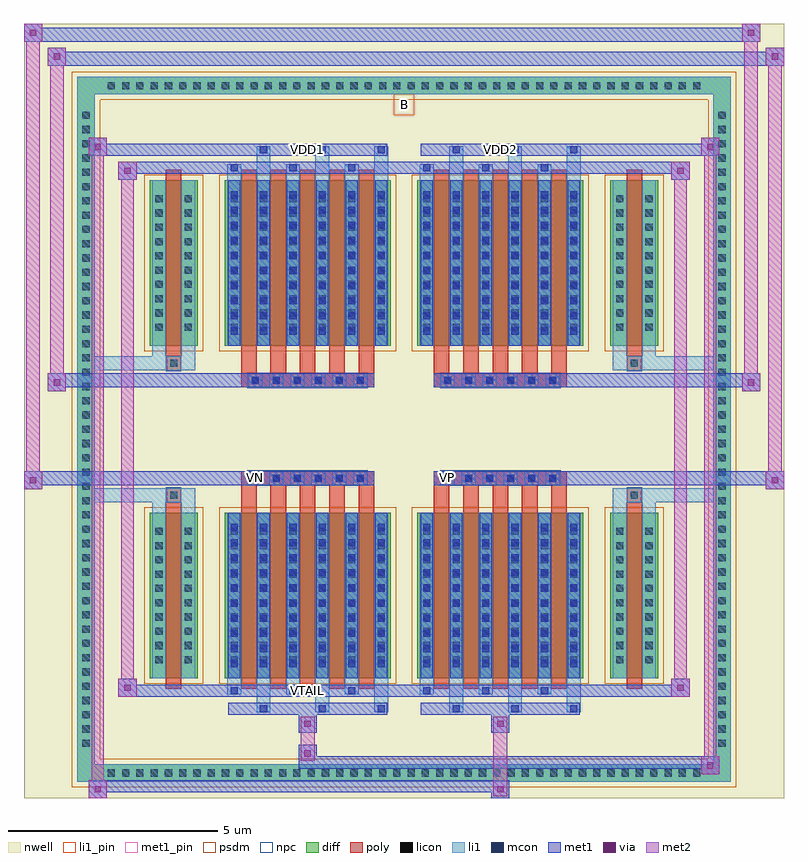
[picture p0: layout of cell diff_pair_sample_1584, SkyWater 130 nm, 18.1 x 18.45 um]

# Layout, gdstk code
import gdstk
lib = gdstk.Library(unit=1e-6, precision=5e-09)
def R(c, l, rs):  # rectangles x0, y0, x1, y1
    for r in rs: c.add(gdstk.rectangle(r[:2], r[2:], *l))
def A(c, l, x, y, w, h, nx, ny, dx, dy):  # array of equal rectangles
    R(c, l, [(x+i*dx, y+j*dy, x+i*dx+w, y+j*dy+h) for i in range(nx) for j in range(ny)])
def P(c, l, *ps):  # polygons
    for p in ps: c.add(gdstk.Polygon(p, *l))
nwell = (64, 20)
diff = (65, 20)
poly = (66, 20)
licon = (66, 44)
li1_pin = (67, 16)
li1 = (67, 20)
mcon = (67, 44)
met1_pin = (68, 16)
met1 = (68, 20)
via = (68, 44)
met2 = (69, 20)
psdm = (94, 20)
npc = (95, 20)

diff_pair_sample_1584 = lib.new_cell('diff_pair_sample_1584')
R(diff_pair_sample_1584, nwell, [(-9.05,-8.79,9.05,9.66), (-6.37,-6.98,-0.01,-0.8), (0.01,-6.98,6.37,-0.8), (-6.37,0.8,-0.01,6.98), (0.01,0.8,6.37,6.98)])
A(diff_pair_sample_1584, diff, -7.175, -8.39, 0.41, 0.41, 42, 2, 0.34, 16.37)
A(diff_pair_sample_1584, diff, -7.78, -7.685, 0.41, 0.41, 1, 45, 0, 0.34)
A(diff_pair_sample_1584, diff, 7.37, -7.685, 0.41, 0.41, 1, 45, 0, 0.34)
R(diff_pair_sample_1584, diff, [(-7.175,-8.39,7.175,-7.98), (-7.78,-7.685,-7.37,7.685), (7.37,-7.685,7.78,7.685), (-6.06,-5.935,-4.91,-1.985), (-4.27,-5.935,-0.32,-1.985), (0.32,-5.935,4.27,-1.985), (4.91,-5.935,6.06,-1.985), (-6.06,1.985,-4.91,5.935), (-4.27,1.985,-0.32,5.935), (0.32,1.985,4.27,5.935), (4.91,1.985,6.06,5.935), (-7.175,7.98,7.175,8.39)])
P(diff_pair_sample_1584, diff, [(7.78,8.39),(-7.78,8.39),(-7.78,-7.98),(-7.37,-7.98),(-7.37,7.98),(7.37,7.98),(7.37,-7.98),(-7.37,-7.98),(-7.78,-7.98),(-7.78,-8.39),(7.78,-8.39)])
A(diff_pair_sample_1584, poly, -3.88, -6.185, 0.37, 4.45, 5, 2, 0.7, 7.92)
A(diff_pair_sample_1584, poly, 0.71, -6.185, 0.37, 4.45, 5, 2, 0.7, 7.92)
A(diff_pair_sample_1584, poly, -3.88, -1.735, 0.37, 0.405, 5, 2, 0.7, 3.065)
A(diff_pair_sample_1584, poly, 0.71, -1.735, 0.37, 0.405, 5, 2, 0.7, 3.065)
A(diff_pair_sample_1584, poly, -3.71, -1.33, 0.33, 0.33, 6, 2, 0.5, 2.33)
A(diff_pair_sample_1584, poly, 0.88, -1.33, 0.33, 0.33, 6, 2, 0.5, 2.33)
R(diff_pair_sample_1584, poly, [(-5.67,-6.185,-5.3,-1.735), (5.3,-6.185,5.67,-1.735), (-5.65,-1.735,-5.32,-1.405), (-5.65,-1.735,-5.32,-1.405), (5.32,-1.735,5.65,-1.405), (5.32,-1.735,5.65,-1.405), (-3.88,-1.33,-0.71,-1), (0.71,-1.33,3.88,-1), (-3.88,1,-0.71,1.33), (0.71,1,3.88,1.33), (-5.65,1.405,-5.32,1.735), (-5.65,1.405,-5.32,1.735), (5.32,1.405,5.65,1.735), (5.32,1.405,5.65,1.735), (-5.67,1.735,-5.3,6.185), (5.3,1.735,5.67,6.185)])
A(diff_pair_sample_1584, licon, -7.055, -8.27, 0.17, 0.17, 42, 2, 0.34, 16.37)
A(diff_pair_sample_1584, licon, -7.66, -7.565, 0.17, 0.17, 1, 45, 0, 0.34)
A(diff_pair_sample_1584, licon, 7.49, -7.565, 0.17, 0.17, 1, 45, 0, 0.34)
A(diff_pair_sample_1584, licon, -5.92, -5.575, 0.17, 0.17, 1, 10, 0, 0.34)
A(diff_pair_sample_1584, licon, -5.22, -5.575, 0.17, 0.17, 1, 10, 0, 0.34)
A(diff_pair_sample_1584, licon, -4.13, -5.575, 0.17, 0.17, 6, 10, 0.7, 0.34)
A(diff_pair_sample_1584, licon, 0.46, -5.575, 0.17, 0.17, 6, 10, 0.7, 0.34)
A(diff_pair_sample_1584, licon, 5.05, -5.575, 0.17, 0.17, 1, 10, 0, 0.34)
A(diff_pair_sample_1584, licon, 5.75, -5.575, 0.17, 0.17, 1, 10, 0, 0.34)
A(diff_pair_sample_1584, licon, -3.63, -1.25, 0.17, 0.17, 6, 2, 0.5, 2.33)
A(diff_pair_sample_1584, licon, 0.96, -1.25, 0.17, 0.17, 6, 2, 0.5, 2.33)
A(diff_pair_sample_1584, licon, -5.92, 2.345, 0.17, 0.17, 1, 10, 0, 0.34)
A(diff_pair_sample_1584, licon, -5.22, 2.345, 0.17, 0.17, 1, 10, 0, 0.34)
A(diff_pair_sample_1584, licon, -4.13, 2.345, 0.17, 0.17, 6, 10, 0.7, 0.34)
A(diff_pair_sample_1584, licon, 0.46, 2.345, 0.17, 0.17, 6, 10, 0.7, 0.34)
A(diff_pair_sample_1584, licon, 5.05, 2.345, 0.17, 0.17, 1, 10, 0, 0.34)
A(diff_pair_sample_1584, licon, 5.75, 2.345, 0.17, 0.17, 1, 10, 0, 0.34)
R(diff_pair_sample_1584, licon, [(-5.57,-1.655,-5.4,-1.485), (5.4,-1.655,5.57,-1.485), (-5.57,1.485,-5.4,1.655), (5.4,1.485,5.57,1.655)])
R(diff_pair_sample_1584, li1_pin, [(-0.25,7.48,0.25,7.98)])
A(diff_pair_sample_1584, li1, -7.135, -8.35, 0.33, 0.33, 42, 2, 0.34, 16.37)
A(diff_pair_sample_1584, li1, -7.74, -7.645, 0.33, 0.33, 1, 45, 0, 0.34)
A(diff_pair_sample_1584, li1, 7.41, -7.645, 0.33, 0.33, 1, 45, 0, 0.34)
A(diff_pair_sample_1584, li1, -3.51, -6.74, 0.33, 0.805, 3, 2, 1.4, 12.675)
A(diff_pair_sample_1584, li1, -3.43, -6.74, 0.17, 0.17, 3, 2, 1.4, 13.31)
A(diff_pair_sample_1584, li1, 1.08, -6.74, 0.33, 0.805, 3, 2, 1.4, 12.675)
A(diff_pair_sample_1584, li1, 1.16, -6.74, 0.17, 0.17, 3, 2, 1.4, 13.31)
A(diff_pair_sample_1584, li1, -4.21, -6.31, 0.33, 0.375, 3, 2, 1.4, 12.245)
A(diff_pair_sample_1584, li1, -4.13, -6.31, 0.17, 0.17, 3, 2, 1.4, 12.45)
A(diff_pair_sample_1584, li1, 0.38, -6.31, 0.33, 0.375, 3, 2, 1.4, 12.245)
A(diff_pair_sample_1584, li1, 0.46, -6.31, 0.17, 0.17, 3, 2, 1.4, 12.45)
A(diff_pair_sample_1584, li1, -4.21, -5.935, 0.33, 3.95, 6, 2, 0.7, 7.92)
A(diff_pair_sample_1584, li1, 0.38, -5.935, 0.33, 3.95, 6, 2, 0.7, 7.92)
A(diff_pair_sample_1584, li1, -4.13, -5.665, 0.17, 0.17, 6, 10, 0.7, 0.36)
A(diff_pair_sample_1584, li1, -4.13, -5.665, 0.17, 3.41, 6, 2, 0.7, 7.92)
A(diff_pair_sample_1584, li1, 0.46, -5.665, 0.17, 0.17, 6, 10, 0.7, 0.36)
A(diff_pair_sample_1584, li1, 0.46, -5.665, 0.17, 3.41, 6, 2, 0.7, 7.92)
A(diff_pair_sample_1584, li1, -6, -5.655, 0.33, 0.33, 1, 10, 0, 0.34)
A(diff_pair_sample_1584, li1, -5.3, -5.655, 0.33, 0.33, 1, 10, 0, 0.34)
A(diff_pair_sample_1584, li1, -4.21, -5.655, 0.33, 0.33, 6, 10, 0.7, 0.34)
A(diff_pair_sample_1584, li1, 0.38, -5.655, 0.33, 0.33, 6, 10, 0.7, 0.34)
A(diff_pair_sample_1584, li1, 4.97, -5.655, 0.33, 0.33, 1, 10, 0, 0.34)
A(diff_pair_sample_1584, li1, 5.67, -5.655, 0.33, 0.33, 1, 10, 0, 0.34)
A(diff_pair_sample_1584, li1, -3.71, -1.33, 0.33, 0.33, 6, 2, 0.5, 2.33)
A(diff_pair_sample_1584, li1, 0.88, -1.33, 0.33, 0.33, 6, 2, 0.5, 2.33)
A(diff_pair_sample_1584, li1, -4.13, 2.255, 0.17, 0.17, 6, 10, 0.7, 0.36)
A(diff_pair_sample_1584, li1, 0.46, 2.255, 0.17, 0.17, 6, 10, 0.7, 0.36)
A(diff_pair_sample_1584, li1, -6, 2.265, 0.33, 0.33, 1, 10, 0, 0.34)
A(diff_pair_sample_1584, li1, -5.3, 2.265, 0.33, 0.33, 1, 10, 0, 0.34)
A(diff_pair_sample_1584, li1, -4.21, 2.265, 0.33, 0.33, 6, 10, 0.7, 0.34)
A(diff_pair_sample_1584, li1, 0.38, 2.265, 0.33, 0.33, 6, 10, 0.7, 0.34)
A(diff_pair_sample_1584, li1, 4.97, 2.265, 0.33, 0.33, 1, 10, 0, 0.34)
A(diff_pair_sample_1584, li1, 5.67, 2.265, 0.33, 0.33, 1, 10, 0, 0.34)
R(diff_pair_sample_1584, li1, [(-7.78,-8.39,-7.37,-7.98), (-7.78,-8.39,-7.37,-7.98), (-7.37,-8.39,7.37,-7.98), (7.37,-8.39,7.78,-7.98), (7.37,-8.39,7.78,-7.98), (-7.78,-7.98,-7.37,7.98), (7.37,-7.98,7.78,7.98), (-6,-5.935,-5.67,-1.985), (-5.3,-5.935,-4.97,-1.985), (4.97,-5.935,5.3,-1.985), (5.67,-5.935,6,-1.985), (-6,-1.985,-5.67,-1.405), (-5.3,-1.985,-4.97,-1.405), (4.97,-1.985,5.3,-1.405), (5.67,-1.985,6,-1.405), (-7.78,-1.735,-5.65,-1.405), (-6,-1.735,-5.65,-1.405), (-5.65,-1.735,-5.32,-1.405), (-5.32,-1.735,-4.97,-1.405), (4.97,-1.735,5.32,-1.405), (5.32,-1.735,5.65,-1.405), (5.32,-1.735,7.78,-1.405), (5.65,-1.735,6,-1.405), (-7.78,1.405,-5.65,1.735), (-6,1.405,-5.65,1.735), (-6,1.405,-5.67,1.985), (-5.65,1.405,-5.32,1.735), (-5.32,1.405,-4.97,1.735), (-5.3,1.405,-4.97,1.985), (4.97,1.405,5.32,1.735), (4.97,1.405,5.3,1.985), (5.32,1.405,5.65,1.735), (5.32,1.405,7.78,1.735), (5.65,1.405,6,1.735), (5.67,1.405,6,1.985), (-6,1.985,-5.67,5.935), (-5.3,1.985,-4.97,5.935), (4.97,1.985,5.3,5.935), (5.67,1.985,6,5.935), (-7.78,7.98,-7.37,8.39), (-7.78,7.98,-7.37,8.39), (-7.37,7.98,7.37,8.39), (7.37,7.98,7.78,8.39), (7.37,7.98,7.78,8.39)])
A(diff_pair_sample_1584, mcon, -3.43, -6.74, 0.17, 0.17, 3, 2, 1.4, 13.31)
A(diff_pair_sample_1584, mcon, 1.16, -6.74, 0.17, 0.17, 3, 2, 1.4, 13.31)
A(diff_pair_sample_1584, mcon, -4.13, -6.31, 0.17, 0.17, 3, 2, 1.4, 12.45)
A(diff_pair_sample_1584, mcon, 0.46, -6.31, 0.17, 0.17, 3, 2, 1.4, 12.45)
A(diff_pair_sample_1584, mcon, -4.13, -5.665, 0.17, 0.17, 6, 10, 0.7, 0.36)
A(diff_pair_sample_1584, mcon, 0.46, -5.665, 0.17, 0.17, 6, 10, 0.7, 0.36)
A(diff_pair_sample_1584, mcon, -3.63, -1.25, 0.17, 0.17, 6, 2, 0.5, 2.33)
A(diff_pair_sample_1584, mcon, 0.96, -1.25, 0.17, 0.17, 6, 2, 0.5, 2.33)
A(diff_pair_sample_1584, mcon, -4.13, 2.255, 0.17, 0.17, 6, 10, 0.7, 0.36)
A(diff_pair_sample_1584, mcon, 0.46, 2.255, 0.17, 0.17, 6, 10, 0.7, 0.36)
R(diff_pair_sample_1584, met1_pin, [(-2.43,-6.35,-2.16,-6.08), (-3.68,-1.29,-3.41,-1.02), (0.91,-1.29,1.18,-1.02), (-2.43,6.53,-2.16,6.8), (2.16,6.53,2.43,6.8)])
A(diff_pair_sample_1584, met1, -3.49, -6.8, 0.29, 0.29, 3, 2, 1.4, 13.31)
A(diff_pair_sample_1584, met1, 1.1, -6.8, 0.29, 0.29, 3, 2, 1.4, 13.31)
A(diff_pair_sample_1584, met1, -4.19, -6.37, 0.29, 0.29, 3, 2, 1.4, 12.45)
A(diff_pair_sample_1584, met1, 0.4, -6.37, 0.29, 0.29, 3, 2, 1.4, 12.45)
A(diff_pair_sample_1584, met1, -4.19, -5.935, 0.29, 3.95, 6, 2, 0.7, 7.92)
A(diff_pair_sample_1584, met1, 0.4, -5.935, 0.29, 3.95, 6, 2, 0.7, 7.92)
A(diff_pair_sample_1584, met1, -4.19, -5.725, 0.29, 0.29, 6, 10, 0.7, 0.36)
A(diff_pair_sample_1584, met1, 0.4, -5.725, 0.29, 0.29, 6, 10, 0.7, 0.36)
A(diff_pair_sample_1584, met1, -3.69, -1.31, 0.29, 0.29, 6, 2, 0.5, 2.33)
A(diff_pair_sample_1584, met1, 0.9, -1.31, 0.29, 0.29, 6, 2, 0.5, 2.33)
A(diff_pair_sample_1584, met1, -4.19, 2.195, 0.29, 0.29, 6, 10, 0.7, 0.36)
A(diff_pair_sample_1584, met1, 0.4, 2.195, 0.29, 0.29, 6, 10, 0.7, 0.36)
R(diff_pair_sample_1584, met1, [(-7.51,-8.79,-7.08,-8.36), (2.08,-8.79,2.51,-8.36), (-7.51,-8.65,2.51,-8.36), (7.08,-8.22,7.51,-7.79), (-2.51,-8.08,7.51,-7.79), (-2.51,-7.94,-2.08,-7.51), (-2.51,-7.23,-2.08,-6.8), (2.08,-7.23,2.51,-6.8), (-4.19,-6.8,-0.4,-6.51), (0.4,-6.8,4.19,-6.51), (-6.8,-6.37,-6.37,-5.94), (-6.8,-6.37,-4.19,-6.08), (-4.19,-6.37,-0.4,-6.08), (-0.4,-6.37,0.4,-6.08), (0.4,-6.37,4.19,-6.08), (4.19,-6.37,6.8,-6.08), (6.37,-6.37,6.8,-5.94), (-9.05,-1.43,-8.62,-1), (8.62,-1.43,9.05,-1), (-9.05,-1.33,-0.71,-1), (-3.88,-1.33,-0.71,-1), (0.71,-1.33,3.88,-1), (0.71,-1.33,9.05,-1), (-8.48,0.9,-8.05,1.33), (8.05,0.9,8.48,1.33), (-8.48,1,-3.88,1.33), (-3.88,1,-0.71,1.33), (0.71,1,3.88,1.33), (3.88,1,8.48,1.33), (-6.8,5.94,-6.37,6.37), (6.37,5.94,6.8,6.37), (-6.8,6.08,-4.19,6.37), (-4.19,6.08,-0.4,6.37), (-0.4,6.08,0.4,6.37), (0.4,6.08,4.19,6.37), (4.19,6.08,6.8,6.37), (-7.51,6.51,-7.08,6.94), (-7.51,6.51,-4.19,6.8), (-4.19,6.51,-0.4,6.8), (0.4,6.51,4.19,6.8), (4.19,6.51,7.51,6.8), (7.08,6.51,7.51,6.94), (-8.48,8.66,-8.05,9.09), (-8.48,8.66,-6.37,8.99), (-6.37,8.66,6.37,8.99), (6.37,8.66,9.05,8.99), (8.62,8.66,9.05,9.09), (-9.05,9.23,-8.62,9.66), (-9.05,9.23,-6.37,9.56), (-6.37,9.23,6.37,9.56), (6.37,9.23,8.48,9.56), (8.05,9.23,8.48,9.66)])
R(diff_pair_sample_1584, via, [(-7.37,-8.65,-7.22,-8.5), (2.22,-8.65,2.37,-8.5), (7.22,-8.08,7.37,-7.93), (-2.37,-7.8,-2.22,-7.65), (-2.37,-7.09,-2.22,-6.94), (2.22,-7.09,2.37,-6.94), (-6.66,-6.23,-6.51,-6.08), (6.51,-6.23,6.66,-6.08), (-8.91,-1.29,-8.76,-1.14), (8.76,-1.29,8.91,-1.14), (-8.34,1.04,-8.19,1.19), (8.19,1.04,8.34,1.19), (-6.66,6.08,-6.51,6.23), (6.51,6.08,6.66,6.23), (-7.37,6.65,-7.22,6.8), (7.22,6.65,7.37,6.8), (-8.34,8.8,-8.19,8.95), (8.76,8.8,8.91,8.95), (-8.91,9.37,-8.76,9.52), (8.19,9.37,8.34,9.52)])
R(diff_pair_sample_1584, met2, [(-7.51,-8.79,-7.08,-8.36), (-7.44,-8.79,-7.15,6.94), (-7.15,-8.79,-7.08,-8.36), (-7.46,-8.74,-7.13,-8.41), (2.13,-8.74,2.46,-8.41), (2.13,-8.41,2.46,-7.18), (7.08,-8.22,7.51,-7.79), (7.15,-8.22,7.44,6.94), (7.44,-8.22,7.51,-7.79), (7.13,-8.17,7.46,-7.84), (-2.46,-7.89,-2.13,-7.56), (-2.46,-7.56,-2.13,-7.18), (-2.46,-7.18,-2.13,-6.85), (2.13,-7.18,2.46,-6.85), (-6.8,-6.37,-6.37,-5.94), (-6.73,-6.37,-6.44,6.37), (-6.44,-6.37,-6.37,-5.94), (6.37,-6.37,6.8,-5.94), (6.44,-6.37,6.73,6.37), (6.73,-6.37,6.8,-5.94), (-6.75,-6.32,-6.42,-5.99), (6.42,-6.32,6.75,-5.99), (-9.05,-1.43,-8.62,-1), (-9,-1.43,-8.67,9.66), (-8.67,-1.43,-8.62,-1), (8.62,-1.43,9.05,-1), (8.67,-1.43,9,9.09), (9,-1.43,9.05,-1), (-9,-1.38,-8.67,-1.05), (8.67,-1.38,9,-1.05), (-8.48,0.9,-8.05,1.33), (-8.43,0.9,-8.1,9.09), (-8.1,0.9,-8.05,1.33), (8.05,0.9,8.48,1.33), (8.1,0.9,8.43,9.66), (8.43,0.9,8.48,1.33), (-8.43,0.95,-8.1,1.28), (8.1,0.95,8.43,1.28), (-6.8,5.94,-6.37,6.37), (-6.44,5.94,-6.37,6.37), (6.37,5.94,6.8,6.37), (6.73,5.94,6.8,6.37), (-6.75,5.99,-6.42,6.32), (6.42,5.99,6.75,6.32), (-7.51,6.51,-7.08,6.94), (-7.15,6.51,-7.08,6.94), (7.08,6.51,7.51,6.94), (7.44,6.51,7.51,6.94), (-7.46,6.56,-7.13,6.89), (7.13,6.56,7.46,6.89), (-8.48,8.66,-8.05,9.09), (-8.1,8.66,-8.05,9.09), (8.62,8.66,9.05,9.09), (9,8.66,9.05,9.09), (-8.43,8.71,-8.1,9.04), (8.67,8.71,9,9.04), (-9.05,9.23,-8.62,9.66), (-8.67,9.23,-8.62,9.66), (8.05,9.23,8.48,9.66), (8.43,9.23,8.48,9.66), (-9,9.28,-8.67,9.61), (8.1,9.28,8.43,9.61)])
R(diff_pair_sample_1584, psdm, [(-6.19,-6.065,-4.78,-1.855), (-4.4,-6.065,-0.19,-1.855), (0.19,-6.065,4.4,-1.855), (4.78,-6.065,6.19,-1.855), (-6.19,1.855,-4.78,6.065), (-4.4,1.855,-0.19,6.065), (0.19,1.855,4.4,6.065), (4.78,1.855,6.19,6.065)])
P(diff_pair_sample_1584, psdm, [(7.91,8.52),(-7.91,8.52),(-7.91,-7.85),(-7.24,-7.85),(-7.24,7.85),(7.24,7.85),(7.24,-7.85),(-7.24,-7.85),(-7.91,-7.85),(-7.91,-8.52),(7.91,-8.52)])
A(diff_pair_sample_1584, npc, -3.73, -1.35, 0.37, 0.37, 6, 2, 0.5, 2.33)
A(diff_pair_sample_1584, npc, 0.86, -1.35, 0.37, 0.37, 6, 2, 0.5, 2.33)
R(diff_pair_sample_1584, npc, [(-5.67,-1.755,-5.3,-1.385), (5.3,-1.755,5.67,-1.385), (-3.73,-1.35,-2.86,-0.98), (-3.73,-1.35,-2.86,-0.98), (-3.23,-1.35,-2.36,-0.98), (-3.23,-1.35,-2.36,-0.98), (-2.73,-1.35,-1.86,-0.98), (-2.73,-1.35,-1.86,-0.98), (-2.23,-1.35,-1.36,-0.98), (-2.23,-1.35,-1.36,-0.98), (-1.73,-1.35,-0.86,-0.98), (-1.73,-1.35,-0.86,-0.98), (0.86,-1.35,1.73,-0.98), (0.86,-1.35,1.73,-0.98), (1.36,-1.35,2.23,-0.98), (1.36,-1.35,2.23,-0.98), (1.86,-1.35,2.73,-0.98), (1.86,-1.35,2.73,-0.98), (2.36,-1.35,3.23,-0.98), (2.36,-1.35,3.23,-0.98), (2.86,-1.35,3.73,-0.98), (2.86,-1.35,3.73,-0.98), (-3.73,0.98,-2.86,1.35), (-3.73,0.98,-2.86,1.35), (-3.23,0.98,-2.36,1.35), (-3.23,0.98,-2.36,1.35), (-2.73,0.98,-1.86,1.35), (-2.73,0.98,-1.86,1.35), (-2.23,0.98,-1.36,1.35), (-2.23,0.98,-1.36,1.35), (-1.73,0.98,-0.86,1.35), (-1.73,0.98,-0.86,1.35), (0.86,0.98,1.73,1.35), (0.86,0.98,1.73,1.35), (1.36,0.98,2.23,1.35), (1.36,0.98,2.23,1.35), (1.86,0.98,2.73,1.35), (1.86,0.98,2.73,1.35), (2.36,0.98,3.23,1.35), (2.36,0.98,3.23,1.35), (2.86,0.98,3.73,1.35), (2.86,0.98,3.73,1.35), (-5.67,1.385,-5.3,1.755), (5.3,1.385,5.67,1.755)])
diff_pair_sample_1584.add(gdstk.Label('VTAIL', (-2.295,-6.215), layer=68, texttype=5))
diff_pair_sample_1584.add(gdstk.Label('VN', (-3.545,-1.155), layer=68, texttype=5))
diff_pair_sample_1584.add(gdstk.Label('VP', (1.045,-1.155), layer=68, texttype=5))
diff_pair_sample_1584.add(gdstk.Label('B', (0,7.73), layer=67, texttype=5))
diff_pair_sample_1584.add(gdstk.Label('VDD2', (2.295,6.665), layer=68, texttype=5))
diff_pair_sample_1584.add(gdstk.Label('VDD1', (-2.295,6.665), layer=68, texttype=5))

lib.write_gds('diff_pair_sample_1584.gds')
